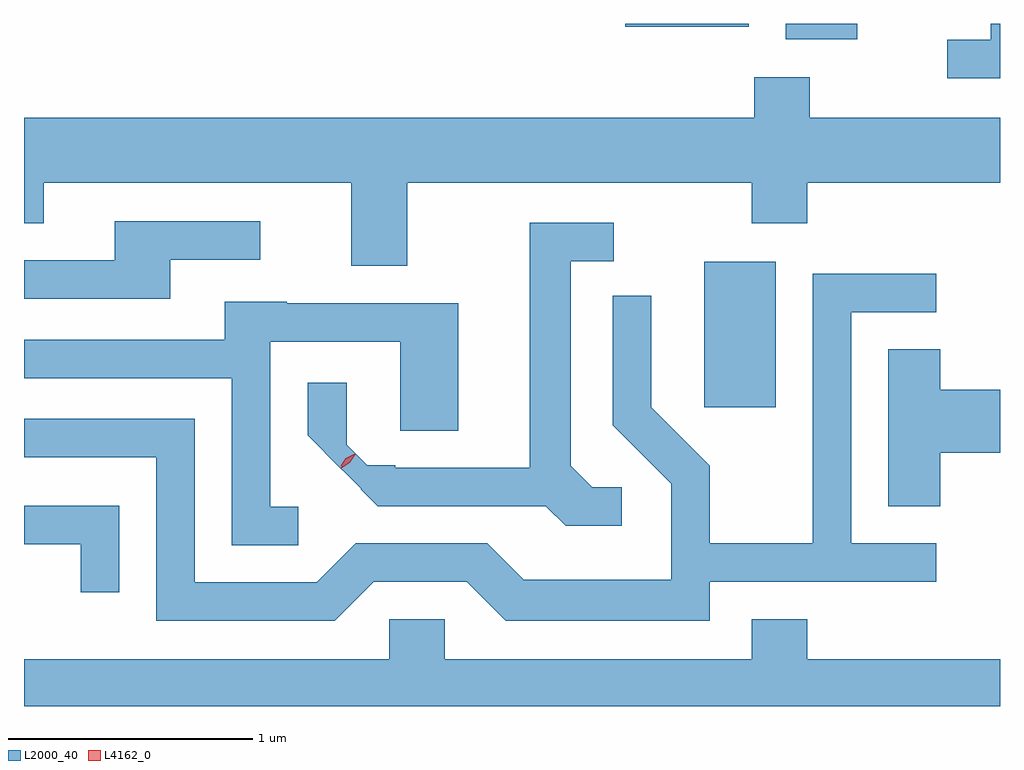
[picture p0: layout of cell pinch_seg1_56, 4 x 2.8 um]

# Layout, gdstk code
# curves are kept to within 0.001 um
import gdstk
lib = gdstk.Library(unit=1e-6, precision=1e-09)
def R(c, l, rs):  # rectangles x0, y0, x1, y1
    for r in rs: c.add(gdstk.rectangle(r[:2], r[2:], *l))
def P(c, l, *ps):  # polygons
    for p in ps: c.add(gdstk.Polygon(p, *l))
L2000_40 = (2000, 40)
L4162_0 = (4162, 0)

pinch_seg1_56 = lib.new_cell('pinch_seg1_56')
R(pinch_seg1_56, L2000_40, [(1029.636,840.936,1029.929,841.534), (1029.971,842.446,1030.264,842.508), (1029.313,842.496,1029.819,842.508)])
P(pinch_seg1_56, L2000_40, [(1030.849,842.508),(1030.811,842.508),(1030.811,842.444),(1030.632,842.444),(1030.632,842.286),(1030.849,842.286)],
  [(1028.419,841.856),(1029.831,841.856),(1029.831,841.691),(1030.059,841.691),(1030.059,841.856),(1030.849,841.856),(1030.849,842.124),(1030.069,842.124),(1030.069,842.289),(1029.841,842.289),(1029.841,842.124),(1026.849,842.124),(1026.849,841.691),(1026.929,841.691),(1026.929,841.856),(1028.191,841.856),(1028.191,841.516),(1028.419,841.516)],
  [(1027.449,841.541),(1027.818,841.541),(1027.818,841.699),(1027.221,841.699),(1027.221,841.539),(1026.849,841.539),(1026.849,841.381),(1027.449,841.381)],
  [(1029.298,840.609),(1029.177,840.609),(1029.089,840.697),(1029.089,841.536),(1029.267,841.536),(1029.267,841.694),(1028.921,841.694),(1028.921,840.689),(1028.37,840.689),(1028.37,840.7),(1028.255,840.7),(1028.171,840.784),(1028.171,841.038),(1028.011,841.038),(1028.011,840.823),(1028.231,840.602),(1028.229,840.6),(1028.298,840.531),(1028.988,840.531),(1029.069,840.451),(1029.298,840.451)],
  [(1028.282,840.221),(1028.664,840.221),(1028.824,840.061),(1029.659,840.061),(1029.659,840.221),(1030.588,840.221),(1030.588,840.379),(1030.239,840.379),(1030.239,841.326),(1030.588,841.326),(1030.588,841.484),(1030.081,841.484),(1030.081,840.379),(1029.659,840.379),(1029.659,840.697),(1029.419,840.937),(1029.419,841.393),(1029.261,841.393),(1029.261,840.864),(1029.501,840.624),(1029.501,840.229),(1028.897,840.229),(1028.747,840.379),(1028.209,840.379),(1028.049,840.219),(1027.549,840.219),(1027.549,840.889),(1026.849,840.889),(1026.849,840.731),(1027.391,840.731),(1027.391,840.061),(1028.122,840.061)],
  [(1027.973,840.529),(1027.859,840.529),(1027.859,841.206),(1028.391,841.206),(1028.391,840.841),(1028.629,840.841),(1028.629,841.364),(1027.925,841.364),(1027.925,841.369),(1027.671,841.369),(1027.671,841.214),(1026.849,841.214),(1026.849,841.056),(1027.701,841.056),(1027.701,840.371),(1027.973,840.371)],
  [(1030.604,840.751),(1030.849,840.751),(1030.849,841.009),(1030.604,841.009),(1030.604,841.174),(1030.391,841.174),(1030.391,840.531),(1030.604,840.531)],
  [(1027.239,840.534),(1026.849,840.534),(1026.849,840.376),(1027.081,840.376),(1027.081,840.178),(1027.239,840.178)],
  [(1030.849,839.904),(1030.059,839.904),(1030.059,840.069),(1029.831,840.069),(1029.831,839.904),(1028.574,839.904),(1028.574,840.069),(1028.346,840.069),(1028.346,839.904),(1026.849,839.904),(1026.849,839.712),(1030.849,839.712)])
P(pinch_seg1_56, L4162_0, [(1028.148,840.686),(1028.148,840.687),(1028.171,840.724),(1028.207,840.747),(1028.208,840.747),(1028.208,840.746),(1028.185,840.71),(1028.149,840.686)],
  [(1028.148,840.696),(1028.148,840.697),(1028.167,840.728),(1028.2,840.745),(1028.201,840.745),(1028.201,840.744),(1028.181,840.713),(1028.148,840.696)])

lib.write_gds('pinch_seg1_56.gds')
